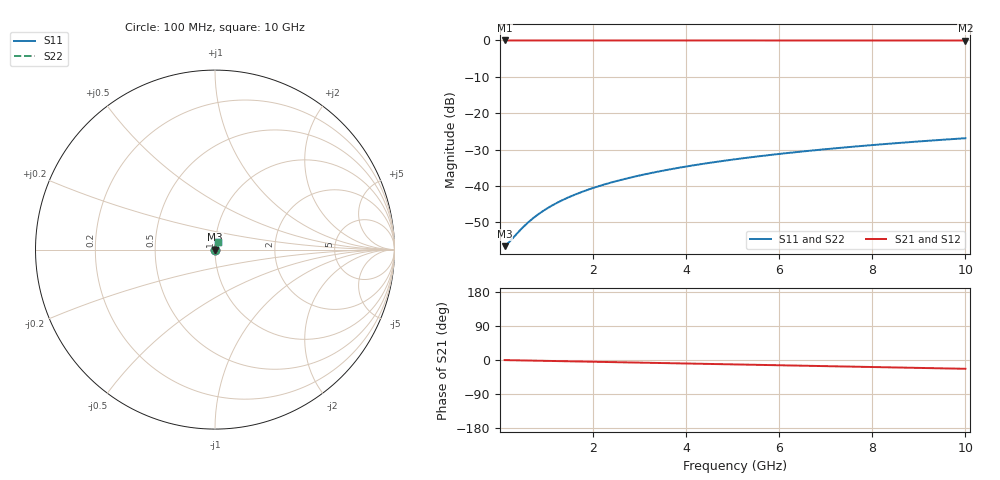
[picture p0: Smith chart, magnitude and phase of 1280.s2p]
# Hz S RI R 50.00
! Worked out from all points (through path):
!   100 points, 100 MHz to 10 GHz, reference 50 ohm
!   highest |S21| = -0.01 dB at 100 MHz (marker M1); lowest = 0.0 dB at 10 GHz (marker M2)
!   group delay of S21, straight-line fit = 6.45 ps
!   lowest |S11| = -56.5 dB at 100 MHz (marker M3), VSWR 1.00, Z = 50.1 + j0.046 ohm
!   |S11| at or under -10 dB: start of sweep to end of sweep
!   |S22| runs from -56.5 to -26.9 dB; largest |S21 - S12| = 0
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1e8  0.00142 0.000458  0.9986 -0.00402  0.9986 -0.00402  0.00142 0.000458
2e8  0.00143 0.000916  0.9985 -0.00803  0.9985 -0.00803  0.00143 0.000916
4e8  0.00146 0.00183  0.9984 -0.0161  0.9984 -0.0161  0.00146 0.00183
5e8  0.00148 0.00229  0.9983 -0.0201  0.9983 -0.0201  0.00148 0.00229
6e8  0.0015 0.00275  0.9982 -0.0241  0.9982 -0.0241  0.0015 0.00275
7e8  0.00153 0.0032  0.9981 -0.0281  0.9981 -0.0281  0.00153 0.0032
9e8  0.00159 0.00412  0.9979 -0.0361  0.9979 -0.0361  0.00159 0.00412
1.1e9  0.00167 0.00503  0.9975 -0.0442  0.9975 -0.0442  0.00167 0.00503
1.3e9  0.00176 0.00594  0.9971 -0.0522  0.9971 -0.0522  0.00176 0.00594
1.5e9  0.00187 0.00685  0.9967 -0.0602  0.9967 -0.0602  0.00187 0.00685
1.8e9  0.00205 0.00821  0.9958 -0.0723  0.9958 -0.0723  0.00205 0.00821
2.1e9  0.00227 0.00956  0.9949 -0.0843  0.9949 -0.0843  0.00227 0.00956
2.5e9  0.00261 0.0114  0.9933 -0.1003  0.9933 -0.1003  0.00261 0.0114
2.9e9  0.003 0.0131  0.9916 -0.1163  0.9916 -0.1163  0.003 0.0131
3.4e9  0.00358 0.0153  0.989 -0.1363  0.989 -0.1363  0.00358 0.0153
4.2e9  0.00469 0.0188  0.9839 -0.1682  0.9839 -0.1682  0.00469 0.0188
5.1e9  0.0062 0.0226  0.9771 -0.2038  0.9771 -0.2038  0.0062 0.0226
5.9e9  0.00778 0.0259  0.9698 -0.2354  0.9698 -0.2354  0.00778 0.0259
6.7e9  0.00957 0.0291  0.9616 -0.2667  0.9616 -0.2667  0.00957 0.0291
7.5e9  0.0116 0.0322  0.9522 -0.2978  0.9522 -0.2978  0.0116 0.0322
8.4e9  0.0141 0.0355  0.9405 -0.3324  0.9405 -0.3324  0.0141 0.0355
1e10  0.0191 0.041  0.9165 -0.393  0.9165 -0.393  0.0191 0.041
